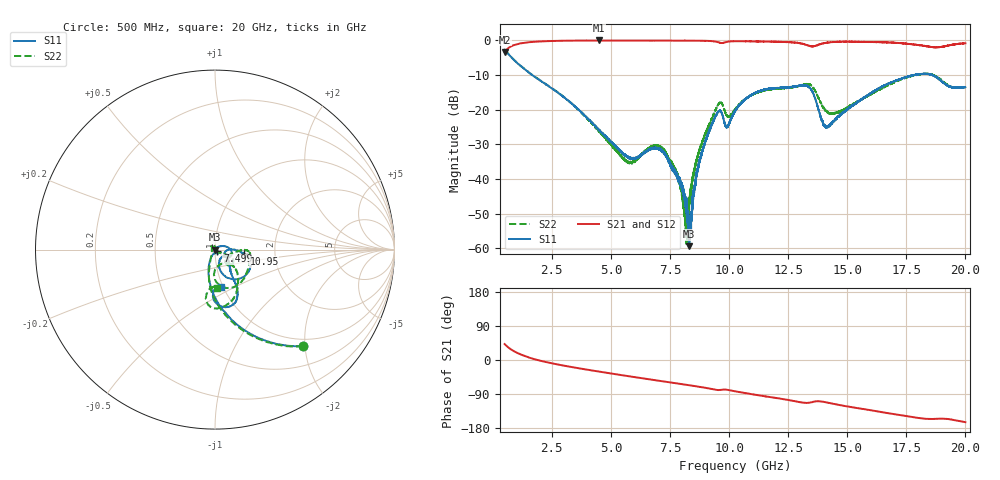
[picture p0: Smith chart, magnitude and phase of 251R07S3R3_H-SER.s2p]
!{201R07S3R3}
!Johanson Technology Inc.
!www.johansontechnology.com
!Test Board Conditions:
!Substrate Type  RO4350B
!Substrate Thickness  10 mil
!Substrate Dk  3.66
!TL Type: GCPW
!TL Trace Width  21 mil
!TL Gap  20 mil
!Electrode orientation  Horizontal
!DUT TOPOLOGY	SERIES
!Mounting Pad LxW  16x21 mil
!Agilent Technologies,N5230A,MY45001966,A.07.50.67
!Agilent N5230A: A.07.50.67
! Created Mon Mar  9 16:28:59 2020
# mhz S ma R 50
! 2 Port Network Data from SP1.SP block
! freq  magS11  angS11  magS21  angS21  magS12  angS12  magS22  angS22
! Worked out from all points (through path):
!   19501 points, 500 MHz to 20 GHz, reference 50 ohm
!   highest |S21| = -0.07 dB at 4.486 GHz (marker M1); lowest = -3.4 dB at 500 MHz (marker M2)
!   group delay of S21, straight-line fit = 25.7 ps
!   lowest |S11| = -59.4 dB at 8.318 GHz (marker M3), VSWR 1.00, Z = 50.1 - j0.0607 ohm
!   |S11| at or under -10 dB: 1.655 GHz to 17.83 GHz (16.17 GHz wide, 166 % of centre); 17.8316 GHz to 17.841 GHz (9.4 MHz wide, 0.0527 % of centre); 18.58 GHz to end of sweep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
!   |S22| runs from -58.8 to -2.7 dB; largest |S21 - S12| = 0.014
!   S11 on the Smith chart (normalised r, x): 500 MHz: 0.86, -1.97; 7.499 GHz: 1.03, -0.02; 10.95 GHz: 1.38, -0.07; 20 GHz: 0.98, -0.42
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500  0.7289 -47.4  0.679 42.1  0.6793 42.1  0.7298 -47.7
1520  0.3411 -82.3  0.9352 6.8  0.9351 6.7  0.3449 -83.3
3750  0.09125 -111.5  0.9878 -23.0  0.9887 -23.0  0.09025 -109.2
4486  0.05107 -115.7  0.992 -30.5  0.9905 -30.5  0.04903 -117.2
5764  0.0202 -95.0  0.9897 -42.9  0.9894 -42.9  0.01713 -171.8
7000  0.02755 -54.1  0.9887 -54.4  0.9883 -54.5  0.02974 129.8
7499  0.01621 -37.9  0.9867 -59.1  0.9868 -59.0  0.01674 121.3
7924  0.00848 -61.5  0.9858 -63.0  0.9867 -62.9  0.008806 121.1
8179  0.003798 -68.1  0.9861 -65.3  0.9849 -65.3  0.002085 -173.5
8318  0.001073 -34.4  0.9848 -66.7  0.9855 -66.7  0.004828 -73.9
8635  0.01184 51.8  0.9838 -69.7  0.9832 -69.7  0.01867 -42.5
9221  0.05528 21.0  0.974 -76.0  0.9711 -75.9  0.06862 -23.2
9604  0.09634 -17.6  0.9213 -79.4  0.9204 -79.4  0.1255 -36.0
9908  0.05526 -18.3  0.9459 -78.5  0.9465 -78.5  0.08107 -42.2
10250  0.09502 0.3  0.9687 -82.6  0.9688 -82.5  0.1005 -11.7
10945  0.1625 -8.2  0.9638 -90.0  0.9635 -89.7  0.1623 -1.0
12790  0.2158 -22.8  0.9275 -108.9  0.9276 -108.8  0.2139 -29.7
13500  0.1873 -60.9  0.819 -111.5  0.8153 -111.7  0.2187 -75.3
14153  0.05735 -44.5  0.9228 -112.3  0.9248 -112.5  0.09295 -78.8
16750  0.2377 -59.4  0.9316 -140.4  0.9203 -140.5  0.2282 -55.6
18380  0.327 -79.5  0.8164 -155.4  0.8131 -155.1  0.328 -89.0
20000  0.2097 -80.7  0.9025 -164.0  0.9038 -163.9  0.2128 -86.8
